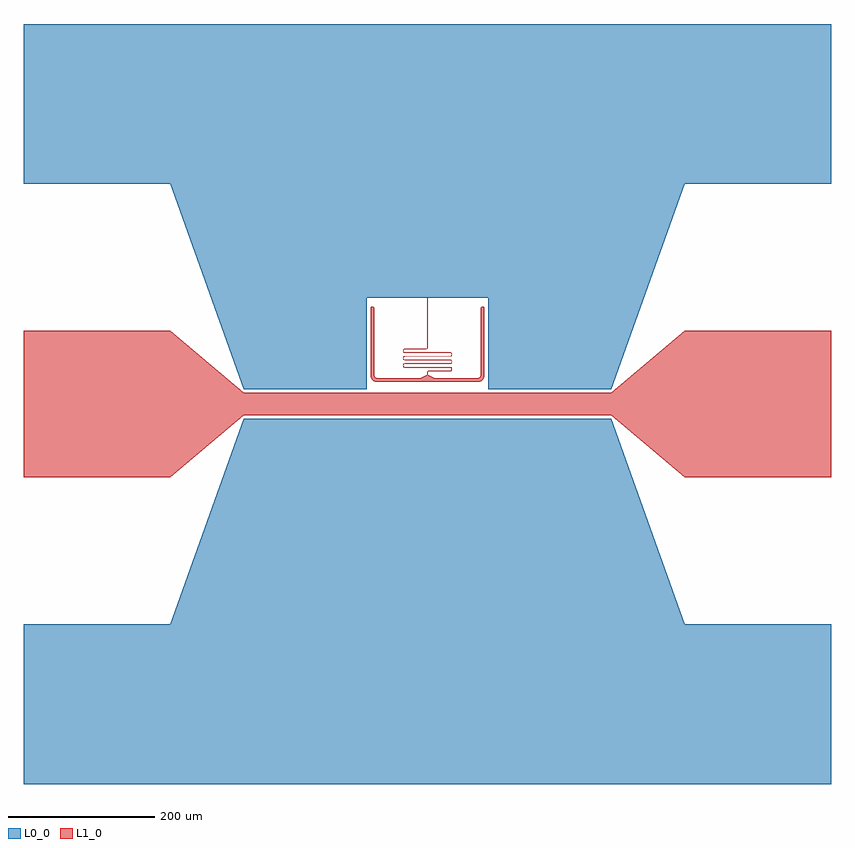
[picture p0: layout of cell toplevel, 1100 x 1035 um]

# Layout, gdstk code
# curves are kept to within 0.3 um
import gdstk
lib = gdstk.Library(unit=1e-6, precision=1e-09)
def P(c, l, *ps):  # polygons
    for p in ps: c.add(gdstk.Polygon(p, *l))
L0_0 = (0, 0)
L1_0 = (1, 0)

toplevel = lib.new_cell('toplevel')
P(toplevel, L0_0, [(82.5,145),(82.5,20),(250,20),(350,300),(550,300),(550,517.5),(-550,517.5),(-550,300),(-350,300),(-250,20),(-82.5,20),(-82.5,145)],
  [(550,-517.5),(550,-300),(350,-300),(250,-20),(-250,-20),(-350,-300),(-550,-300),(-550,-517.5)])
P(toplevel, L1_0, [(-75.109,132.498),(-76.768,131.768),(-77.498,130.109),(-77.495,40.762),(-76.558,35.347),(-75.282,33.229),(-73.555,31.689),(-70.563,30.418),(-66.738,30.005),(66.879,30.007),(72.263,30.989),(74.271,32.217),(75.811,33.945),(77.108,37.045),(77.499,41.178),(77.5,130),(77.218,131.154),(76.343,132.108),(75.109,132.498),(73.846,132.217),(72.892,131.343),(72.502,130.109),(72.493,40.67),(72.07,37.598),(70.83,35.881),(69.09,35.211),(66.336,35.001),(-66.082,35),(-69.058,35.205),(-70.871,35.909),(-71.911,37.199),(-72.426,39.368),(-72.502,130.109),(-73.311,131.843)],
  [(0.3,40),(0.377,43.73),(0.737,44.364),(1.46,44.661),(30.915,44.7),(32.015,44.834),(32.583,45.123),(32.978,45.566),(33.298,46.954),(33.13,49.119),(32.74,49.74),(32.108,50.134),(30.862,50.3),(-31.125,50.304),(-31.892,50.426),(-32.38,50.755),(-32.638,51.332),(-32.672,53.465),(-32.469,54.117),(-32.012,54.524),(-31.244,54.691),(31.056,54.702),(32.413,55.009),(32.853,55.387),(33.142,55.915),(33.299,57.969),(33.112,59.165),(32.478,59.951),(31.38,60.283),(-30.994,60.301),(-32.043,60.491),(-32.571,61.1),(-32.7,62.15),(-32.577,63.884),(-32.138,64.456),(-31.303,64.687),(31.046,64.702),(32.38,64.99),(32.82,65.347),(33.121,65.858),(33.3,67.83),(33.117,69.154),(32.478,69.951),(31.38,70.283),(-30.984,70.301),(-32.012,70.476),(-32.549,71.043),(-32.698,71.935),(-32.609,73.782),(-32.245,74.38),(-31.522,74.664),(-1.833,74.705),(-0.62,74.99),(0.083,75.766),(0.3,77.127),(0.3,145),(-0.3,145),(-0.3,77.14),(-0.461,76.019),(-0.965,75.487),(-1.915,75.303),(-31.643,75.252),(-32.613,74.853),(-33.158,74.038),(-33.298,71.954),(-33.103,70.812),(-32.357,69.978),(-31.046,69.702),(31.303,69.687),(32.145,69.452),(32.58,68.875),(32.7,67.078),(32.562,66.075),(32.027,65.483),(30.984,65.301),(-31.38,65.283),(-32.478,64.951),(-33.112,64.165),(-33.3,62.937),(-33.134,60.892),(-32.837,60.366),(-32.402,60.003),(-31.056,59.702),(31.303,59.687),(32.138,59.456),(32.577,58.884),(32.7,57.244),(32.577,56.116),(32.05,55.494),(30.994,55.301),(-31.289,55.289),(-32.29,55.056),(-32.944,54.488),(-33.252,53.643),(-33.3,52.244),(-33.208,51.136),(-32.837,50.366),(-32.165,49.888),(-31.2,49.706),(30.85,49.7),(31.9,49.571),(32.354,49.275),(32.617,48.756),(32.682,46.63),(32.349,45.719),(31.512,45.335),(2.085,45.3),(1.02,45.177),(0.233,44.712),(-0.202,43.887),(-0.3,40)],
  [(10,35),(0.3,40),(-0.3,40),(-10,35)],
  [(-250,15),(-350,100),(-550,100),(-550,-100),(-350,-100),(-250,-15),(250,-15),(350,-100),(550,-100),(550,100),(350,100),(250,15)])

lib.write_gds('toplevel.gds')
